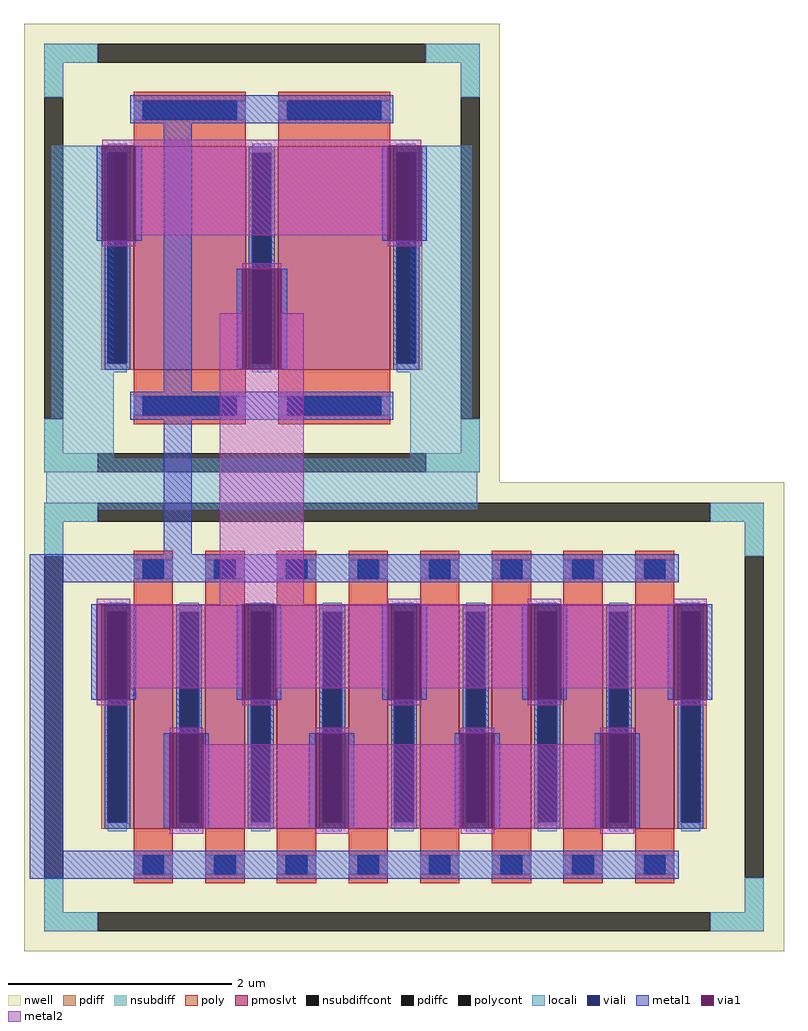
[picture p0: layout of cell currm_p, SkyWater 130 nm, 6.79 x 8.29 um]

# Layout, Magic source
magic
tech sky130A
magscale 1 2
<< locali >>
rect -10 70 100 630
rect 630 70 740 630
rect -20 -20 750 70
<< metal1 >>
rect 130 670 600 720
rect 70 460 80 630
rect 140 460 150 630
rect 190 190 240 670
rect 580 460 590 630
rect 650 460 660 630
rect 320 230 330 410
rect 400 230 410 410
rect 130 140 600 190
rect 190 -100 240 140
rect -50 -150 1110 -100
rect -50 -630 10 -150
rect 60 -360 70 -190
rect 130 -360 140 -190
rect 320 -360 330 -190
rect 390 -360 400 -190
rect 580 -360 590 -190
rect 650 -360 660 -190
rect 830 -360 840 -190
rect 900 -360 910 -190
rect 1090 -360 1100 -190
rect 1160 -360 1170 -190
rect 190 -590 200 -420
rect 260 -590 270 -420
rect 450 -590 460 -420
rect 520 -590 530 -420
rect 710 -590 720 -420
rect 780 -590 790 -420
rect 960 -590 970 -420
rect 1030 -590 1040 -420
rect -50 -680 1110 -630
<< via1 >>
rect 80 460 140 630
rect 590 460 650 630
rect 330 230 400 410
rect 70 -360 130 -190
rect 330 -360 390 -190
rect 590 -360 650 -190
rect 840 -360 900 -190
rect 1100 -360 1160 -190
rect 200 -590 260 -420
rect 460 -590 520 -420
rect 720 -590 780 -420
rect 970 -590 1030 -420
<< metal2 >>
rect 80 630 650 640
rect 140 470 590 630
rect 80 450 140 460
rect 590 450 650 460
rect 330 410 400 420
rect 290 230 330 330
rect 400 230 440 330
rect 70 -190 130 -180
rect 290 -190 440 230
rect 590 -190 650 -180
rect 840 -190 900 -180
rect 1100 -190 1160 -180
rect 130 -340 330 -190
rect 70 -370 130 -360
rect 390 -340 590 -190
rect 330 -370 390 -360
rect 650 -340 840 -190
rect 590 -370 650 -360
rect 900 -340 1100 -190
rect 840 -370 900 -360
rect 1100 -370 1160 -360
rect 200 -420 260 -410
rect 460 -420 520 -410
rect 260 -590 460 -440
rect 720 -420 780 -410
rect 520 -590 720 -440
rect 970 -420 1030 -410
rect 780 -590 970 -440
rect 200 -600 260 -590
rect 460 -600 520 -590
rect 720 -600 780 -590
rect 970 -600 1030 -590
use sky130_fd_pr__pfet_01v8_lvt_4LMUGG  sky130_fd_pr__pfet_01v8_lvt_4LMUGG_0
transform 1 0 619 0 1 -391
box -679 -419 679 419
use sky130_fd_pr__pfet_01v8_lvt_LKHJAY  sky130_fd_pr__pfet_01v8_lvt_LKHJAY_0
transform 1 0 365 0 1 429
box -425 -419 425 419
<< end >>

# cell sky130_fd_pr__pfet_01v8_lvt_4LMUGG: kit device sky130_fd_pr__pfet_01v8_lvt, w 2 l 0.35 m 1 nf 8 diffcov 100 polycov 100 guard 1 glc 1 grc 1 gtc 1 gbc 1 tbcov 100 rlcov 100 topc 1 botc 1 poverlap 0 doverlap 1 lmin 0.35 wmin 0.42 compatible {sky130_fd_pr__pfet_01v8 sky130_fd_pr__pfet_01v8_lvt sky130_fd_pr__pfet_01v8_hvt sky130_fd_pr__pfet_g5v0d10v5} full_metal 1 viasrc 100 viadrn 100 viagate 100 viagb 0 viagr 0 viagl 0 viagt 0

# cell sky130_fd_pr__pfet_01v8_lvt_LKHJAY: kit device sky130_fd_pr__pfet_01v8_lvt, w 2 l 1 m 1 nf 2 diffcov 100 polycov 100 guard 1 glc 1 grc 1 gtc 1 gbc 1 tbcov 100 rlcov 100 topc 1 botc 1 poverlap 0 doverlap 1 lmin 0.35 wmin 0.42 compatible {sky130_fd_pr__pfet_01v8 sky130_fd_pr__pfet_01v8_lvt sky130_fd_pr__pfet_01v8_hvt sky130_fd_pr__pfet_g5v0d10v5} full_metal 1 viasrc 100 viadrn 100 viagate 100 viagb 0 viagr 0 viagl 0 viagt 0
